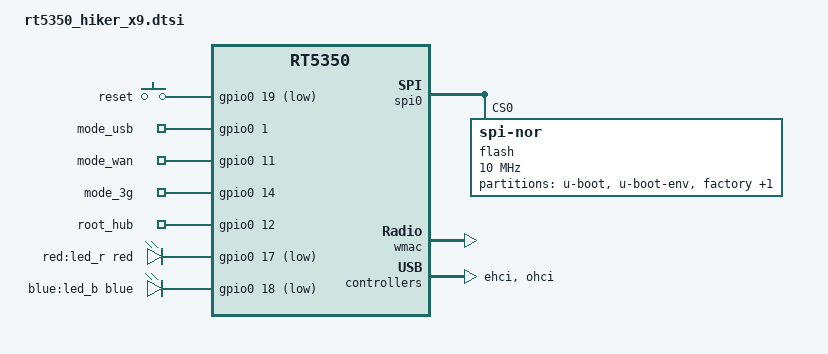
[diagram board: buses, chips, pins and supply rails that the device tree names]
// SPDX-License-Identifier: GPL-2.0-or-later OR MIT

#include "rt5350.dtsi"

#include <dt-bindings/gpio/gpio.h>
#include <dt-bindings/input/input.h>
#include <dt-bindings/leds/common.h>

/ {
	aliases {
		led-boot = &led_r;
		led-failsafe = &led_r;
		led-running = &led_b;
		led-upgrade = &led_r;
		label-mac-device = &ethernet;
	};

	keys {
		compatible = "gpio-keys";

		reset {
			label = "reset";
			gpios = <&gpio0 19 GPIO_ACTIVE_LOW>;
			linux,code = <KEY_RESTART>;
		};
	};

	gpio-export {
		compatible = "gpio-export";
		#size-cells = <0>;

		mode_switch_usb {
			gpio-export,name = "mode_usb";
			gpio-export,input = <0>;
			gpios = <&gpio0 1 GPIO_ACTIVE_HIGH>;
		};

		mode_switch_wan {
			gpio-export,name = "mode_wan";
			gpio-export,input = <0>;
			gpios = <&gpio0 11 GPIO_ACTIVE_HIGH>;
		};

		mode_switch_3g {
			gpio-export,name = "mode_3g";
			gpio-export,input = <0>;
			gpios = <&gpio0 14 GPIO_ACTIVE_HIGH>;
		};

		root_hub {
			gpio-export,name = "root_hub";
			gpio-export,output = <1>;
			gpios = <&gpio0 12 GPIO_ACTIVE_HIGH>;
		};
	};

	leds {
		compatible = "gpio-leds";

		led_r: led_r {
			label = "red:led_r";
			function = LED_FUNCTION_STATUS;
			color = <LED_COLOR_ID_RED>;
			gpios = <&gpio0 17 GPIO_ACTIVE_LOW>;
		};

		led_b: led_b {
			label = "blue:led_b";
			function = LED_FUNCTION_POWER;
			color = <LED_COLOR_ID_BLUE>;
			gpios = <&gpio0 18 GPIO_ACTIVE_LOW>;
		};
	};
};

&spi0 {
	status = "okay";

	flash@0 {
		compatible = "jedec,spi-nor";
		reg = <0>;
		spi-max-frequency = <10000000>;

		partitions {
			compatible = "fixed-partitions";
			#address-cells = <1>;
			#size-cells = <1>;

			partition@0 {
				label = "u-boot";
				reg = <0x0 0x30000>;
				read-only;
			};

			partition@30000 {
				label = "u-boot-env";
				reg = <0x30000 0x10000>;
				read-only;
			};

			partition@40000 {
				label = "factory";
				reg = <0x40000 0x10000>;
				read-only;

				nvmem-layout {
					compatible = "fixed-layout";
					#address-cells = <1>;
					#size-cells = <1>;

					eeprom_factory_0: eeprom@0 {
						reg = <0x0 0x200>;
					};

					macaddr_factory_4: macaddr@4 {
						compatible = "mac-base";
						reg = <0x4 0x6>;
						#nvmem-cell-cells = <1>;
					};
				};
			};

			partition@50000 {
				compatible = "denx,uimage";
				label = "firmware";
				reg = <0x50000 0x7b0000>;
			};
		};
	};
};

&state_default {
	gpio {
		groups = "i2c", "jtag", "uartf";
		function = "gpio";
	};
};

&ethernet {
	nvmem-cells = <&macaddr_factory_4 0>;
	nvmem-cell-names = "mac-address";
};

&esw {
	mediatek,portmap = <0x2f>;
};

&wmac {
	nvmem-cells = <&eeprom_factory_0>;
	nvmem-cell-names = "eeprom";
};

&ehci {
	status = "okay";
};

&ohci {
	status = "okay";
};
